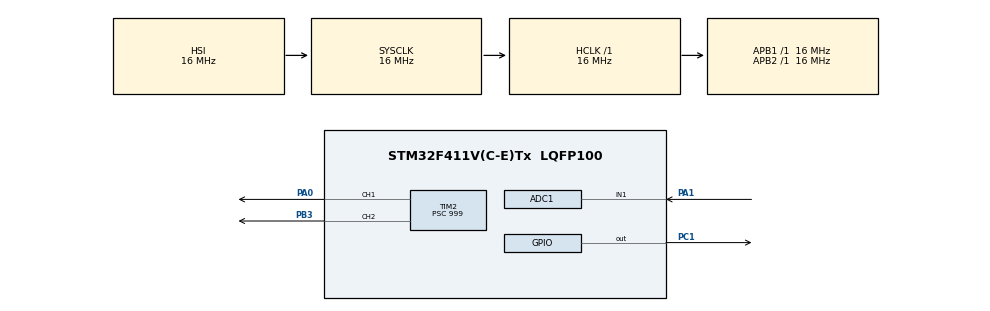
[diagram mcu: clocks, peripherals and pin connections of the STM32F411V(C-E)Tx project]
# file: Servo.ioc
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ADC1.Channel-2\#ChannelRegularConversion=ADC_CHANNEL_1
ADC1.NbrOfConversionFlag=1
ADC1.Rank-2\#ChannelRegularConversion=1
ADC1.SamplingTime-2\#ChannelRegularConversion=ADC_SAMPLETIME_3CYCLES
ADC1.master=1
Mcu.Family=STM32F4
Mcu.Name=STM32F411V(C-E)Tx
Mcu.Package=LQFP100
NVIC.PriorityGroup=NVIC_PRIORITYGROUP_4
PA0-WKUP.Signal=S_TIM2_CH1_ETR
PA1.Signal=ADCx_IN1
PB3.Signal=S_TIM2_CH2
PC1.Signal=GPIO_Output
ProjectManager.HeapSize=0x200
ProjectManager.StackSize=0x400
ProjectManager.TargetToolchain=STM32CubeIDE
RCC.AHBFreq_Value=16000000
RCC.APB1Freq_Value=16000000
RCC.APB2Freq_Value=16000000
RCC.CortexFreq_Value=16000000
RCC.HSE_VALUE=25000000
RCC.HSI_VALUE=16000000
RCC.LSE_VALUE=32768
RCC.SYSCLKFreq_VALUE=16000000
RCC.VCOOutputFreq_Value=192000000
SH.ADCx_IN1.0=ADC1_IN1,IN1
SH.S_TIM2_CH1_ETR.0=TIM2_CH1,PWM Generation1 CH1
SH.S_TIM2_CH2.0=TIM2_CH2,PWM Generation2 CH2
TIM2.AutoReloadPreload=TIM_AUTORELOAD_PRELOAD_DISABLE
TIM2.Channel-PWM\ Generation1\ CH1=TIM_CHANNEL_1
TIM2.Channel-PWM\ Generation2\ CH2=TIM_CHANNEL_2
TIM2.ClockDivision=TIM_CLOCKDIVISION_DIV4
TIM2.Period=999
TIM2.Prescaler=999
TIM2.Pulse-PWM\ Generation1\ CH1=500
TIM2.Pulse-PWM\ Generation2\ CH2=500
VP_TIM2_VS_ClockSourceINT.Mode=Internal
board=custom

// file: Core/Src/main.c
/* USER CODE BEGIN Header */
/**
  ******************************************************************************
  * @file           : main.c
  * @brief          : Main program body
  ******************************************************************************
  * @attention
  *
  * <h2><center>&copy; Copyright (c) 2021 STMicroelectronics.
  * All rights reserved.</center></h2>
  *
  * This software component is licensed by ST under BSD 3-Clause license,
  * the "License"; You may not use this file except in compliance with the
  * License. You may obtain a copy of the License at:
  *                        opensource.org/licenses/BSD-3-Clause
  *
  ******************************************************************************
  */
/* USER CODE END Header */
#include "main.h"

ADC_HandleTypeDef hadc1;

TIM_HandleTypeDef htim2;

void SystemClock_Config(void);
static void MX_GPIO_Init(void);
static void MX_TIM2_Init(void);
static void MX_ADC1_Init(void);
/* USER CODE BEGIN PFP */
static void setPWM(TIM_HandleTypeDef timer, uint32_t channel, uint16_t period, uint16_t pulse);
static void runMotor();
/* USER CODE END PFP */

int main(void)
{

  /* MCU Configuration--------------------------------------------------------*/

  /* Reset of all peripherals, Initializes the Flash interface and the Systick. */
  HAL_Init();

  /* Configure the system clock */
  SystemClock_Config();

  /* Initialize all configured peripherals */
  MX_GPIO_Init();
  MX_TIM2_Init();
  MX_ADC1_Init();

  /* Infinite loop */
  /* USER CODE BEGIN WHILE */
  int pulse = 100;
  int dir = 1;
  HAL_GPIO_WritePin(GPIOC, GPIO_PIN_1, 1);
  HAL_TIM_PWM_Start(&htim2, TIM_CHANNEL_1);
  HAL_TIM_PWM_Start(&htim2, TIM_CHANNEL_2);
  while (1)
  {
    /* USER CODE END WHILE */

    /* USER CODE BEGIN 3 */
	  if (pulse == 500) {
		  dir = -1;
	  } else if (pulse == 0){
		  dir = 1;
	  }
	  pulse += dir * 100;
  }
  /* USER CODE END 3 */
}

void SystemClock_Config(void)
{
  RCC_OscInitTypeDef RCC_OscInitStruct = {0};
  RCC_ClkInitTypeDef RCC_ClkInitStruct = {0};

  /** Configure the main internal regulator output voltage
  */
  __HAL_RCC_PWR_CLK_ENABLE();
  __HAL_PWR_VOLTAGESCALING_CONFIG(PWR_REGULATOR_VOLTAGE_SCALE1);
  /** Initializes the RCC Oscillators according to the specified parameters
  * in the RCC_OscInitTypeDef structure.
  */
  RCC_OscInitStruct.OscillatorType = RCC_OSCILLATORTYPE_HSI;
  RCC_OscInitStruct.HSIState = RCC_HSI_ON;
  RCC_OscInitStruct.HSICalibrationValue = RCC_HSICALIBRATION_DEFAULT;
  RCC_OscInitStruct.PLL.PLLState = RCC_PLL_NONE;
  if (HAL_RCC_OscConfig(&RCC_OscInitStruct) != HAL_OK)
  {
    Error_Handler();
  }
  /** Initializes the CPU, AHB and APB buses clocks
  */
  RCC_ClkInitStruct.ClockType = RCC_CLOCKTYPE_HCLK|RCC_CLOCKTYPE_SYSCLK
                              |RCC_CLOCKTYPE_PCLK1|RCC_CLOCKTYPE_PCLK2;
  RCC_ClkInitStruct.SYSCLKSource = RCC_SYSCLKSOURCE_HSI;
  RCC_ClkInitStruct.AHBCLKDivider = RCC_SYSCLK_DIV1;
  RCC_ClkInitStruct.APB1CLKDivider = RCC_HCLK_DIV1;
  RCC_ClkInitStruct.APB2CLKDivider = RCC_HCLK_DIV1;

  if (HAL_RCC_ClockConfig(&RCC_ClkInitStruct, FLASH_LATENCY_0) != HAL_OK)
  {
    Error_Handler();
  }
}

static void MX_ADC1_Init(void)
{

  ADC_ChannelConfTypeDef sConfig = {0};

  /** Configure the global features of the ADC (Clock, Resolution, Data Alignment and number of conversion)
  */
  hadc1.Instance = ADC1;
  hadc1.Init.ClockPrescaler = ADC_CLOCK_SYNC_PCLK_DIV2;
  hadc1.Init.Resolution = ADC_RESOLUTION_12B;
  hadc1.Init.ScanConvMode = DISABLE;
  hadc1.Init.ContinuousConvMode = DISABLE;
  hadc1.Init.DiscontinuousConvMode = DISABLE;
  hadc1.Init.ExternalTrigConvEdge = ADC_EXTERNALTRIGCONVEDGE_NONE;
  hadc1.Init.ExternalTrigConv = ADC_SOFTWARE_START;
  hadc1.Init.DataAlign = ADC_DATAALIGN_RIGHT;
  hadc1.Init.NbrOfConversion = 1;
  hadc1.Init.DMAContinuousRequests = DISABLE;
  hadc1.Init.EOCSelection = ADC_EOC_SINGLE_CONV;
  if (HAL_ADC_Init(&hadc1) != HAL_OK)
  {
    Error_Handler();
  }
  /** Configure for the selected ADC regular channel its corresponding rank in the sequencer and its sample time.
  */
  sConfig.Channel = ADC_CHANNEL_1;
  sConfig.Rank = 1;
  sConfig.SamplingTime = ADC_SAMPLETIME_3CYCLES;
  if (HAL_ADC_ConfigChannel(&hadc1, &sConfig) != HAL_OK)
  {
    Error_Handler();
  }

}

static void MX_TIM2_Init(void)
{

  TIM_ClockConfigTypeDef sClockSourceConfig = {0};
  TIM_MasterConfigTypeDef sMasterConfig = {0};
  TIM_OC_InitTypeDef sConfigOC = {0};

  htim2.Instance = TIM2;
  htim2.Init.Prescaler = 999;
  htim2.Init.CounterMode = TIM_COUNTERMODE_UP;
  htim2.Init.Period = 999;
  htim2.Init.ClockDivision = TIM_CLOCKDIVISION_DIV4;
  htim2.Init.AutoReloadPreload = TIM_AUTORELOAD_PRELOAD_DISABLE;
  if (HAL_TIM_Base_Init(&htim2) != HAL_OK)
  {
    Error_Handler();
  }
  sClockSourceConfig.ClockSource = TIM_CLOCKSOURCE_INTERNAL;
  if (HAL_TIM_ConfigClockSource(&htim2, &sClockSourceConfig) != HAL_OK)
  {
    Error_Handler();
  }
  if (HAL_TIM_PWM_Init(&htim2) != HAL_OK)
  {
    Error_Handler();
  }
  sMasterConfig.MasterOutputTrigger = TIM_TRGO_RESET;
  sMasterConfig.MasterSlaveMode = TIM_MASTERSLAVEMODE_DISABLE;
  if (HAL_TIMEx_MasterConfigSynchronization(&htim2, &sMasterConfig) != HAL_OK)
  {
    Error_Handler();
  }
  sConfigOC.OCMode = TIM_OCMODE_PWM1;
  sConfigOC.Pulse = 500;
  sConfigOC.OCPolarity = TIM_OCPOLARITY_HIGH;
  sConfigOC.OCFastMode = TIM_OCFAST_DISABLE;
  if (HAL_TIM_PWM_ConfigChannel(&htim2, &sConfigOC, TIM_CHANNEL_1) != HAL_OK)
  {
    Error_Handler();
  }
  if (HAL_TIM_PWM_ConfigChannel(&htim2, &sConfigOC, TIM_CHANNEL_2) != HAL_OK)
  {
    Error_Handler();
  }
  HAL_TIM_MspPostInit(&htim2);

}

static void MX_GPIO_Init(void)
{
  GPIO_InitTypeDef GPIO_InitStruct = {0};

  /* GPIO Ports Clock Enable */
  __HAL_RCC_GPIOC_CLK_ENABLE();
  __HAL_RCC_GPIOA_CLK_ENABLE();
  __HAL_RCC_GPIOB_CLK_ENABLE();

  /*Configure GPIO pin Output Level */
  HAL_GPIO_WritePin(GPIOC, GPIO_PIN_1, GPIO_PIN_RESET);

  /*Configure GPIO pin : PC1 */
  GPIO_InitStruct.Pin = GPIO_PIN_1;
  GPIO_InitStruct.Mode = GPIO_MODE_OUTPUT_PP;
  GPIO_InitStruct.Pull = GPIO_NOPULL;
  GPIO_InitStruct.Speed = GPIO_SPEED_FREQ_LOW;
  HAL_GPIO_Init(GPIOC, &GPIO_InitStruct);

}

/* USER CODE BEGIN 4 */
void setPWM(TIM_HandleTypeDef timer, uint32_t channel, uint16_t period, uint16_t pulse) {
	HAL_TIM_PWM_Stop(&timer, channel);    // stop generation of pwm
	TIM_OC_InitTypeDef sConfigOC;
	timer.Init.Period = period;           // set the period duration
	HAL_TIM_PWM_Init(&timer);  // reinititialise with new period value
	sConfigOC.OCMode = TIM_OCMODE_PWM1;
	sConfigOC.Pulse = pulse;              // set the pulse duration
	sConfigOC.OCPolarity = TIM_OCPOLARITY_HIGH;
	sConfigOC.OCFastMode = TIM_OCFAST_DISABLE;
	HAL_TIM_PWM_ConfigChannel(&timer, &sConfigOC, channel);
	HAL_TIM_PWM_Start(&timer, channel);   // start pwm generation
}
/* USER CODE END 4 */

void Error_Handler(void)
{
}

/************************ (C) COPYRIGHT STMicroelectronics *****END OF FILE****/
